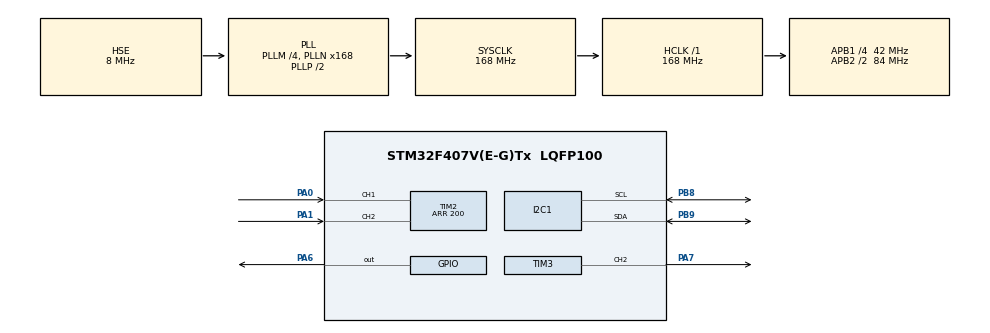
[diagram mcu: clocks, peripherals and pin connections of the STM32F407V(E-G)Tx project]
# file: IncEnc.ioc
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Dma.I2C1_TX.0.Direction=DMA_MEMORY_TO_PERIPH
Dma.I2C1_TX.0.FIFOMode=DMA_FIFOMODE_DISABLE
Dma.I2C1_TX.0.Instance=DMA1_Stream6
Dma.I2C1_TX.0.MemDataAlignment=DMA_MDATAALIGN_BYTE
Dma.I2C1_TX.0.MemInc=DMA_MINC_ENABLE
Dma.I2C1_TX.0.Mode=DMA_NORMAL
Dma.I2C1_TX.0.PeriphDataAlignment=DMA_PDATAALIGN_BYTE
Dma.I2C1_TX.0.PeriphInc=DMA_PINC_DISABLE
Dma.I2C1_TX.0.Priority=DMA_PRIORITY_LOW
Dma.Request0=I2C1_TX
I2C1.I2C_Mode=I2C_Fast
Mcu.Family=STM32F4
Mcu.Name=STM32F407V(E-G)Tx
Mcu.Package=LQFP100
NVIC.DMA1_Stream6_IRQn=true\:0\:0\:false\:false\:true\:false\:true\:true
NVIC.I2C1_EV_IRQn=true\:0\:0\:false\:false\:true\:true\:true\:true
NVIC.PriorityGroup=NVIC_PRIORITYGROUP_4
NVIC.TIM4_IRQn=true\:0\:0\:false\:false\:true\:true\:true\:true
NVIC.TIM7_IRQn=true\:15\:0\:false\:false\:true\:false\:true\:true
NVIC.TimeBase=TIM7_IRQn
NVIC.TimeBaseIP=TIM7
PA0-WKUP.Signal=S_TIM2_CH1_ETR
PA1.Signal=S_TIM2_CH2
PA13.Mode=Serial_Wire
PA13.Signal=SYS_JTMS-SWDIO
PA14.Mode=Serial_Wire
PA14.Signal=SYS_JTCK-SWCLK
PA6.PinState=GPIO_PIN_SET
PA6.Signal=GPIO_Output
PA7.Signal=S_TIM3_CH2
PB8.Mode=I2C
PB8.Signal=I2C1_SCL
PB9.Mode=I2C
PB9.Signal=I2C1_SDA
PH0-OSC_IN.Mode=HSE-External-Oscillator
PH0-OSC_IN.Signal=RCC_OSC_IN
PH1-OSC_OUT.Mode=HSE-External-Oscillator
PH1-OSC_OUT.Signal=RCC_OSC_OUT
ProjectManager.HeapSize=0x200
ProjectManager.StackSize=0x400
ProjectManager.TargetToolchain=STM32CubeIDE
RCC.48MHZClocksFreq_Value=84000000
RCC.AHBFreq_Value=168000000
RCC.APB1CLKDivider=RCC_HCLK_DIV4
RCC.APB1Freq_Value=42000000
RCC.APB1TimFreq_Value=84000000
RCC.APB2CLKDivider=RCC_HCLK_DIV2
RCC.APB2Freq_Value=84000000
RCC.APB2TimFreq_Value=168000000
RCC.CortexFreq_Value=168000000
RCC.HCLKFreq_Value=168000000
RCC.HSE_VALUE=8000000
RCC.HSI_VALUE=16000000
RCC.LSE_VALUE=32768
RCC.PLLM=4
RCC.PLLN=168
RCC.PLLSourceVirtual=RCC_PLLSOURCE_HSE
RCC.SYSCLKFreq_VALUE=168000000
RCC.SYSCLKSource=RCC_SYSCLKSOURCE_PLLCLK
RCC.VCOOutputFreq_Value=336000000
SH.S_TIM2_CH1_ETR.0=TIM2_CH1,Encoder_Interface
SH.S_TIM2_CH2.0=TIM2_CH2,Encoder_Interface
SH.S_TIM3_CH2.0=TIM3_CH2,PWM Generation2 CH2
TIM2.IC1Filter=6
TIM2.IC2Filter=6
TIM2.Period=200
TIM3.Channel-PWM\ Generation2\ CH2=TIM_CHANNEL_2
TIM3.Period=1000
TIM3.Prescaler=167
TIM3.Pulse-PWM\ Generation2\ CH2=900
TIM4.Period=1000
TIM4.Prescaler=41999
VP_SYS_VS_tim7.Mode=TIM7
VP_TIM4_VS_ClockSourceINT.Mode=Internal
board=custom

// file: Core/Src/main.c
/* USER CODE BEGIN Header */
/**
  ******************************************************************************
  * @file           : main.c
  * @brief          : Main program body
  ******************************************************************************
  * @attention
  *
  * Copyright (c) 2025 STMicroelectronics.
  * All rights reserved.
  *
  * This software is licensed under terms that can be found in the LICENSE file
  * in the root directory of this software component.
  * If no LICENSE file comes with this software, it is provided AS-IS.
  *
  ******************************************************************************
  */
/* USER CODE END Header */
#include "main.h"

I2C_HandleTypeDef hi2c1;
DMA_HandleTypeDef hdma_i2c1_tx;

TIM_HandleTypeDef htim2;
TIM_HandleTypeDef htim3;
TIM_HandleTypeDef htim4;

/* USER CODE BEGIN PV */
/* Enc. vars */
uint8_t Enc_Counter = 0;
uint16_t Duty_Cycle = 0;
/* USER CODE END PV */

void SystemClock_Config(void);
static void MX_GPIO_Init(void);
static void MX_DMA_Init(void);
static void MX_TIM2_Init(void);
static void MX_TIM3_Init(void);
static void MX_I2C1_Init(void);
static void MX_TIM4_Init(void);
/* USER CODE BEGIN PFP */
void mainEnc(void);
void mainApp(void);
void init();
void loop();
/* USER CODE END PFP */

/* USER CODE BEGIN 0 */
void init()
{
	/* Rotary (Incremental) encoder */
	HAL_TIM_Encoder_Start(&htim2, TIM_CHANNEL_ALL);
	HAL_TIM_Base_Start(&htim3);
	HAL_TIM_PWM_Init(&htim3);
	HAL_TIM_PWM_Start(&htim3, TIM_CHANNEL_2);
	HAL_TIM_Base_Start_IT(&htim4);
	return;
}

void loop()
{
	Enc_Counter = TIM2->CNT;
    if (Enc_Counter < 200)
    {
        Duty_Cycle = (Enc_Counter<<6);
    }
    TIM3->CCR1 = Duty_Cycle;
    HAL_Delay(10);

	return;
}

/* USER CODE END 0 */

int main(void)
{

  /* MCU Configuration--------------------------------------------------------*/

  /* Reset of all peripherals, Initializes the Flash interface and the Systick. */
  HAL_Init();

  /* Configure the system clock */
  SystemClock_Config();

  /* Initialize all configured peripherals */
  MX_GPIO_Init();
  MX_DMA_Init();
  MX_TIM2_Init();
  MX_TIM3_Init();
  MX_I2C1_Init();
  MX_TIM4_Init();
  /* USER CODE BEGIN 2 */
  init();
  /* USER CODE END 2 */

  /* Infinite loop */
  /* USER CODE BEGIN WHILE */
  mainEnc();
//  mainApp();
  while (1)
  {
	loop();
    /* USER CODE END WHILE */

  }
}

void SystemClock_Config(void)
{
  RCC_OscInitTypeDef RCC_OscInitStruct = {0};
  RCC_ClkInitTypeDef RCC_ClkInitStruct = {0};

  /** Configure the main internal regulator output voltage
  */
  __HAL_RCC_PWR_CLK_ENABLE();
  __HAL_PWR_VOLTAGESCALING_CONFIG(PWR_REGULATOR_VOLTAGE_SCALE1);

  /** Initializes the RCC Oscillators according to the specified parameters
  * in the RCC_OscInitTypeDef structure.
  */
  RCC_OscInitStruct.OscillatorType = RCC_OSCILLATORTYPE_HSE;
  RCC_OscInitStruct.HSEState = RCC_HSE_ON;
  RCC_OscInitStruct.PLL.PLLState = RCC_PLL_ON;
  RCC_OscInitStruct.PLL.PLLSource = RCC_PLLSOURCE_HSE;
  RCC_OscInitStruct.PLL.PLLM = 4;
  RCC_OscInitStruct.PLL.PLLN = 168;
  RCC_OscInitStruct.PLL.PLLP = RCC_PLLP_DIV2;
  RCC_OscInitStruct.PLL.PLLQ = 4;
  if (HAL_RCC_OscConfig(&RCC_OscInitStruct) != HAL_OK)
  {
    Error_Handler();
  }

  /** Initializes the CPU, AHB and APB buses clocks
  */
  RCC_ClkInitStruct.ClockType = RCC_CLOCKTYPE_HCLK|RCC_CLOCKTYPE_SYSCLK
                              |RCC_CLOCKTYPE_PCLK1|RCC_CLOCKTYPE_PCLK2;
  RCC_ClkInitStruct.SYSCLKSource = RCC_SYSCLKSOURCE_PLLCLK;
  RCC_ClkInitStruct.AHBCLKDivider = RCC_SYSCLK_DIV1;
  RCC_ClkInitStruct.APB1CLKDivider = RCC_HCLK_DIV4;
  RCC_ClkInitStruct.APB2CLKDivider = RCC_HCLK_DIV2;

  if (HAL_RCC_ClockConfig(&RCC_ClkInitStruct, FLASH_LATENCY_5) != HAL_OK)
  {
    Error_Handler();
  }
}

static void MX_I2C1_Init(void)
{

  hi2c1.Instance = I2C1;
  hi2c1.Init.ClockSpeed = 400000;
  hi2c1.Init.DutyCycle = I2C_DUTYCYCLE_2;
  hi2c1.Init.OwnAddress1 = 0;
  hi2c1.Init.AddressingMode = I2C_ADDRESSINGMODE_7BIT;
  hi2c1.Init.DualAddressMode = I2C_DUALADDRESS_DISABLE;
  hi2c1.Init.OwnAddress2 = 0;
  hi2c1.Init.GeneralCallMode = I2C_GENERALCALL_DISABLE;
  hi2c1.Init.NoStretchMode = I2C_NOSTRETCH_DISABLE;
  if (HAL_I2C_Init(&hi2c1) != HAL_OK)
  {
    Error_Handler();
  }

}

static void MX_TIM2_Init(void)
{

  TIM_Encoder_InitTypeDef sConfig = {0};
  TIM_MasterConfigTypeDef sMasterConfig = {0};

  htim2.Instance = TIM2;
  htim2.Init.Prescaler = 0;
  htim2.Init.CounterMode = TIM_COUNTERMODE_UP;
  htim2.Init.Period = 200;
  htim2.Init.ClockDivision = TIM_CLOCKDIVISION_DIV1;
  htim2.Init.AutoReloadPreload = TIM_AUTORELOAD_PRELOAD_DISABLE;
  sConfig.EncoderMode = TIM_ENCODERMODE_TI1;
  sConfig.IC1Polarity = TIM_ICPOLARITY_RISING;
  sConfig.IC1Selection = TIM_ICSELECTION_DIRECTTI;
  sConfig.IC1Prescaler = TIM_ICPSC_DIV1;
  sConfig.IC1Filter = 6;
  sConfig.IC2Polarity = TIM_ICPOLARITY_RISING;
  sConfig.IC2Selection = TIM_ICSELECTION_DIRECTTI;
  sConfig.IC2Prescaler = TIM_ICPSC_DIV1;
  sConfig.IC2Filter = 6;
  if (HAL_TIM_Encoder_Init(&htim2, &sConfig) != HAL_OK)
  {
    Error_Handler();
  }
  sMasterConfig.MasterOutputTrigger = TIM_TRGO_RESET;
  sMasterConfig.MasterSlaveMode = TIM_MASTERSLAVEMODE_DISABLE;
  if (HAL_TIMEx_MasterConfigSynchronization(&htim2, &sMasterConfig) != HAL_OK)
  {
    Error_Handler();
  }

}

static void MX_TIM3_Init(void)
{

  TIM_MasterConfigTypeDef sMasterConfig = {0};
  TIM_OC_InitTypeDef sConfigOC = {0};

  htim3.Instance = TIM3;
  htim3.Init.Prescaler = 167;
  htim3.Init.CounterMode = TIM_COUNTERMODE_UP;
  htim3.Init.Period = 1000;
  htim3.Init.ClockDivision = TIM_CLOCKDIVISION_DIV1;
  htim3.Init.AutoReloadPreload = TIM_AUTORELOAD_PRELOAD_DISABLE;
  if (HAL_TIM_PWM_Init(&htim3) != HAL_OK)
  {
    Error_Handler();
  }
  sMasterConfig.MasterOutputTrigger = TIM_TRGO_RESET;
  sMasterConfig.MasterSlaveMode = TIM_MASTERSLAVEMODE_DISABLE;
  if (HAL_TIMEx_MasterConfigSynchronization(&htim3, &sMasterConfig) != HAL_OK)
  {
    Error_Handler();
  }
  sConfigOC.OCMode = TIM_OCMODE_PWM1;
  sConfigOC.Pulse = 900;
  sConfigOC.OCPolarity = TIM_OCPOLARITY_HIGH;
  sConfigOC.OCFastMode = TIM_OCFAST_DISABLE;
  if (HAL_TIM_PWM_ConfigChannel(&htim3, &sConfigOC, TIM_CHANNEL_2) != HAL_OK)
  {
    Error_Handler();
  }
  HAL_TIM_MspPostInit(&htim3);

}

static void MX_TIM4_Init(void)
{

  TIM_ClockConfigTypeDef sClockSourceConfig = {0};
  TIM_MasterConfigTypeDef sMasterConfig = {0};

  htim4.Instance = TIM4;
  htim4.Init.Prescaler = 41999;
  htim4.Init.CounterMode = TIM_COUNTERMODE_UP;
  htim4.Init.Period = 1000;
  htim4.Init.ClockDivision = TIM_CLOCKDIVISION_DIV1;
  htim4.Init.AutoReloadPreload = TIM_AUTORELOAD_PRELOAD_DISABLE;
  if (HAL_TIM_Base_Init(&htim4) != HAL_OK)
  {
    Error_Handler();
  }
  sClockSourceConfig.ClockSource = TIM_CLOCKSOURCE_INTERNAL;
  if (HAL_TIM_ConfigClockSource(&htim4, &sClockSourceConfig) != HAL_OK)
  {
    Error_Handler();
  }
  sMasterConfig.MasterOutputTrigger = TIM_TRGO_RESET;
  sMasterConfig.MasterSlaveMode = TIM_MASTERSLAVEMODE_DISABLE;
  if (HAL_TIMEx_MasterConfigSynchronization(&htim4, &sMasterConfig) != HAL_OK)
  {
    Error_Handler();
  }

}

static void MX_DMA_Init(void)
{

  /* DMA controller clock enable */
  __HAL_RCC_DMA1_CLK_ENABLE();

  /* DMA interrupt init */
  /* DMA1_Stream6_IRQn interrupt configuration */
  HAL_NVIC_SetPriority(DMA1_Stream6_IRQn, 0, 0);
  HAL_NVIC_EnableIRQ(DMA1_Stream6_IRQn);

}

static void MX_GPIO_Init(void)
{
  GPIO_InitTypeDef GPIO_InitStruct = {0};

  /* GPIO Ports Clock Enable */
  __HAL_RCC_GPIOH_CLK_ENABLE();
  __HAL_RCC_GPIOA_CLK_ENABLE();
  __HAL_RCC_GPIOB_CLK_ENABLE();

  /*Configure GPIO pin Output Level */
  HAL_GPIO_WritePin(GPIOA, GPIO_PIN_6, GPIO_PIN_SET);

  /*Configure GPIO pin : PA6 */
  GPIO_InitStruct.Pin = GPIO_PIN_6;
  GPIO_InitStruct.Mode = GPIO_MODE_OUTPUT_PP;
  GPIO_InitStruct.Pull = GPIO_NOPULL;
  GPIO_InitStruct.Speed = GPIO_SPEED_FREQ_LOW;
  HAL_GPIO_Init(GPIOA, &GPIO_InitStruct);

}

void HAL_TIM_PeriodElapsedCallback(TIM_HandleTypeDef *htim)
{
  /* USER CODE BEGIN Callback 0 */
  if (htim->Instance == TIM4)
  {
	HAL_GPIO_TogglePin(GPIOA, GPIO_PIN_6);
  }

  /* USER CODE END Callback 0 */
  if (htim->Instance == TIM7)
  {
    HAL_IncTick();
  }
}

void Error_Handler(void)
{
  __disable_irq();
  while (1)
  {
  }
}
